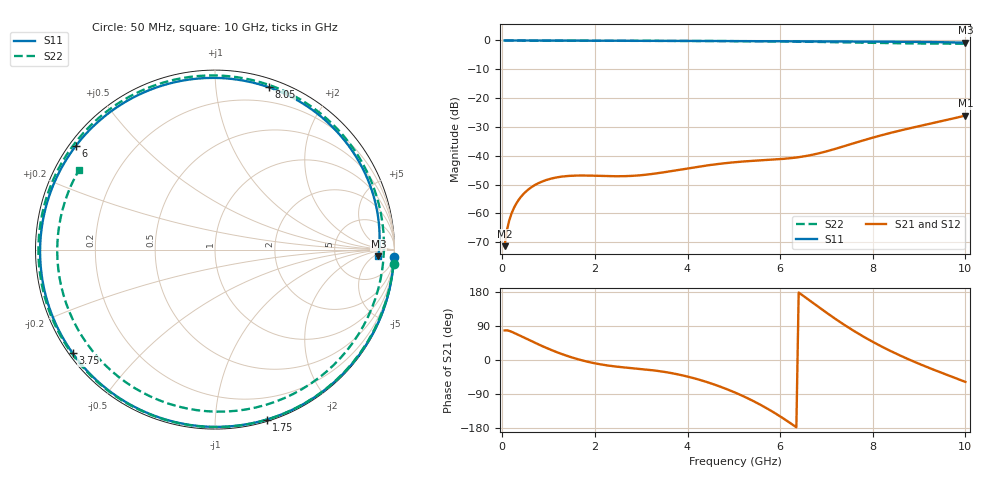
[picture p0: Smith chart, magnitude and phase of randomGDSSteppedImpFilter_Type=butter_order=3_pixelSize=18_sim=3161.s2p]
! freq	dB(S11)	phase(S11)	dB(S12)	phase(S12)
!  dB(S21)	phase(S21)	dB(S22)	phase(S22)
!S-par simulation data
#  GHz  S  DB  R 50
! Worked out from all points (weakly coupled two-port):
!   200 points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, 50 MHz to 10 GHz, reference 50 ohm
!   highest |S21| = -26.07 dB at 10 GHz (marker M1); lowest = -71.4 dB at 50 MHz (marker M2)
!   lowest |S11| = -0.8 dB at 10 GHz (marker M3), VSWR 21.49, Z = 898 - j397 ohm
!   |S11| at or under -10 dB: nowhere
!   |S22| runs from -1.1 to 0.0 dB; largest |S21 - S12| = 0
!   S11 on the Smith chart (normalised r, x): 50 MHz: 2, -51; 1.75 GHz: 0.01, -1.35; 3.75 GHz: 0.01, -0.32; 6 GHz: 0.02, +0.33; 8.05 GHz: 0.07, +1.38; 10 GHz: 18, -8
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0.05  -0.02 -2.2  -71.39 78.0  -71.39 78.0  -0.01 -4.6
0.1  -0.02 -4.4  -65.85 78.4  -65.85 78.4  -0.03 -9.1
0.2  -0.03 -8.7  -60.04 74.5  -60.04 74.5  -0.05 -17.8
0.5  -0.03 -21.6  -52.60 57.3  -52.60 57.3  -0.07 -43.4
1.05  -0.06 -44.9  -47.97 26.9  -47.97 26.9  -0.09 -85.1
1.75  -0.09 -73.0  -46.88 -1.8  -46.88 -1.8  -0.12 -127.0
2.55  -0.12 -103.0  -47.13 -18.6  -47.13 -18.6  -0.13 -164.2
3.4  -0.15 -132.4  -45.97 -29.5  -45.97 -29.5  -0.15 162.0
3.75  -0.17 -144.0  -45.08 -36.9  -45.08 -36.9  -0.17 148.6
4.45  -0.20 -166.7  -43.32 -59.5  -43.32 -59.5  -0.20 121.3
5.05  -0.23 174.1  -42.22 -87.1  -42.22 -87.1  -0.25 96.1
5.55  -0.26 158.0  -41.64 -116.6  -41.64 -116.6  -0.30 72.9
6  -0.29 143.3  -41.18 -148.8  -41.18 -148.8  -0.36 49.7
6.7  -0.33 119.7  -39.67 151.5  -39.67 151.5  -0.49 8.9
7.3  -0.37 98.8  -37.10 99.6  -37.10 99.6  -0.65 -30.5
7.7  -0.40 84.5  -35.14 68.8  -35.14 68.8  -0.76 -58.2
8.05  -0.42 71.7  -33.51 44.6  -33.51 44.6  -0.86 -82.6
8.35  -0.44 60.6  -32.23 25.8  -32.23 25.8  -0.94 -103.4
8.8  -0.49 43.7  -30.48 0.4  -30.48 0.4  -1.03 -133.9
9.2  -0.55 28.6  -29.03 -20.0  -29.03 -20.0  -1.09 -160.1
9.6  -0.64 13.3  -27.59 -39.1  -27.59 -39.1  -1.12 174.4
10  -0.81 -2.4  -26.07 -57.7  -26.07 -57.7  -1.13 149.7
